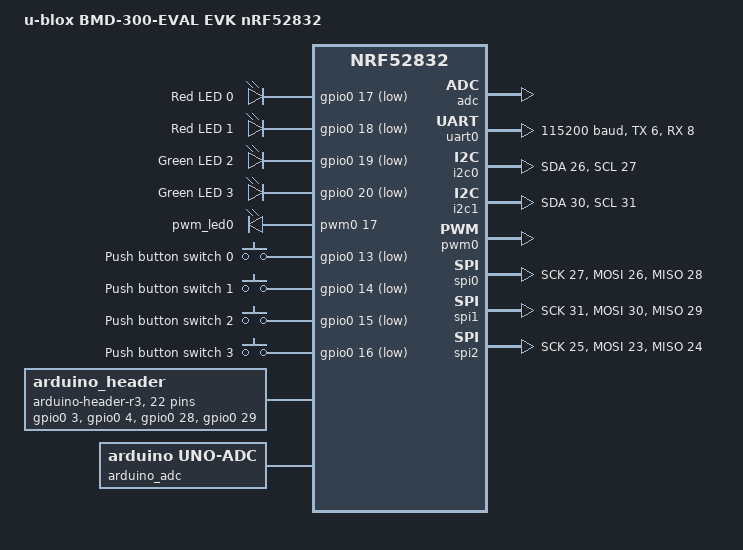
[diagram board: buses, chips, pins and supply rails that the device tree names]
/*
 * Copyright (c) 2020 u-blox AG
 *
 * SPDX-License-Identifier: Apache-2.0
 */

/dts-v1/;
#include <nordic/nrf52832_qfaa.dtsi>

/ {
	model = "u-blox BMD-300-EVAL EVK nRF52832";
	compatible = "u-blox,ubx-bmd300eval-nrf52832";

	chosen {
		zephyr,console = &uart0;
		zephyr,shell-uart = &uart0;
		zephyr,uart-mcumgr = &uart0;
		zephyr,bt-mon-uart = &uart0;
		zephyr,bt-c2h-uart = &uart0;
		zephyr,sram = &sram0;
		zephyr,flash = &flash0;
		zephyr,code-partition = &slot0_partition;
	};

	leds {
		compatible = "gpio-leds";
		led0: led_0 {
			gpios = <&gpio0 17 GPIO_ACTIVE_LOW>;
			label = "Red LED 0";
		};
		led1: led_1 {
			gpios = <&gpio0 18 GPIO_ACTIVE_LOW>;
			label = "Red LED 1";
		};
		led2: led_2 {
			gpios = <&gpio0 19 GPIO_ACTIVE_LOW>;
			label = "Green LED 2";
		};
		led3: led_3 {
			gpios = <&gpio0 20 GPIO_ACTIVE_LOW>;
			label = "Green LED 3";
		};
	};

	pwmleds {
		compatible = "pwm-leds";
		pwm_led0: pwm_led_0 {
			pwms = <&pwm0 17>;
		};
	};

	buttons {
		compatible = "gpio-keys";
		button0: button_0 {
			gpios = <&gpio0 13 (GPIO_PULL_UP | \
				GPIO_ACTIVE_LOW)>;
			label = "Push button switch 0";
		};
		button1: button_1 {
			gpios = <&gpio0 14 (GPIO_PULL_UP | \
				GPIO_ACTIVE_LOW)>;
			label = "Push button switch 1";
		};
		button2: button_2 {
			gpios = <&gpio0 15 (GPIO_PULL_UP | \
				GPIO_ACTIVE_LOW)>;
			label = "Push button switch 2";
		};
		button3: button_3 {
			gpios = <&gpio0 16 (GPIO_PULL_UP | \
				GPIO_ACTIVE_LOW)>;
			label = "Push button switch 3";
		};
	};

	arduino_header: connector {
		compatible = "arduino-header-r3";
		#gpio-cells = <2>;
		gpio-map-mask = <0xffffffff 0xffffffc0>;
		gpio-map-pass-thru = <0 0x3f>;
		gpio-map = <0 0 &gpio0 3 0>,	/* A0 */
			   <1 0 &gpio0 4 0>,	/* A1 */
			   <2 0 &gpio0 28 0>,	/* A2 */
			   <3 0 &gpio0 29 0>,	/* A3 */
			   <4 0 &gpio0 30 0>,	/* A4 */
			   <5 0 &gpio0 31 0>,	/* A5 */
			   <6 0 &gpio0 11 0>,	/* D0 */
			   <7 0 &gpio0 12 0>,	/* D1 */
			   <8 0 &gpio0 13 0>,	/* D2 */
			   <9 0 &gpio0 14 0>,	/* D3 */
			   <10 0 &gpio0 15 0>,	/* D4 */
			   <11 0 &gpio0 16 0>,	/* D5 */
			   <12 0 &gpio0 17 0>,	/* D6 */
			   <13 0 &gpio0 18 0>,	/* D7 */
			   <14 0 &gpio0 19 0>,	/* D8 */
			   <15 0 &gpio0 20 0>,	/* D9 */
			   <16 0 &gpio0 22 0>,	/* D10 */
			   <17 0 &gpio0 23 0>,	/* D11 */
			   <18 0 &gpio0 24 0>,	/* D12 */
			   <19 0 &gpio0 25 0>,	/* D13 */
			   <20 0 &gpio0 26 0>,	/* D14 */
			   <21 0 &gpio0 27 0>;	/* D15 */
	};

	arduino_adc: analog-connector {
		compatible = "arduino,uno-adc";
		#io-channel-cells = <1>;
		io-channel-map = <0 &adc 1>,	/* A0 = P0.3 = AIN1 */
				 <1 &adc 2>,	/* A1 = P0.4 = AIN2 */
				 <2 &adc 4>,	/* A2 = P0.28 = AIN4 */
				 <3 &adc 5>,	/* A3 = P0.29 = AIN5 */
				 <4 &adc 6>,	/* A4 = P0.30 = AIN6 */
				 <5 &adc 7>;	/* A5 = P0.31 = AIN7 */
	};

	/* These aliases are provided for compatibility with samples */
	aliases {
		led0 = &led0;
		led1 = &led1;
		led2 = &led2;
		led3 = &led3;
		pwm-led0 = &pwm_led0;
		sw0 = &button0;
		sw1 = &button1;
		sw2 = &button2;
		sw3 = &button3;
		bootloader-led0 = &led0;
	};
};

&adc {
	status = "okay";
};

&gpiote {
	status = "okay";
};

&gpio0 {
	status = "okay";
};

arduino_serial: &uart0 {
	status = "okay";
	compatible = "nordic,nrf-uarte";
	current-speed = <115200>;
	tx-pin = <6>;
	rx-pin = <8>;
	rts-pin = <5>;
	cts-pin = <7>;
};

arduino_i2c: &i2c0 {
	compatible = "nordic,nrf-twi";
	status = "okay";
	sda-pin = <26>;
	scl-pin = <27>;
};

&i2c1 {
	compatible = "nordic,nrf-twi";
	/* Cannot be used together with spi1. */
	/* status = "okay"; */
	sda-pin = <30>;
	scl-pin = <31>;
};

&pwm0 {
	status = "okay";
	ch0-pin = <17>;
	ch0-inverted;
};

&spi0 {
	compatible = "nordic,nrf-spi";
	/* Cannot be used together with i2c0. */
	/* status = "okay"; */
	sck-pin = <27>;
	mosi-pin = <26>;
	miso-pin = <28>;
};

&spi1 {
	compatible = "nordic,nrf-spi";
	status = "okay";
	sck-pin = <31>;
	mosi-pin = <30>;
	miso-pin = <29>;
};

arduino_spi: &spi2 {
	compatible = "nordic,nrf-spi";
	status = "okay";
	sck-pin = <25>;
	mosi-pin = <23>;
	miso-pin = <24>;
	cs-gpios = <&arduino_header 16 GPIO_ACTIVE_LOW>; /* D10 */
};

&flash0 {

	partitions {
		compatible = "fixed-partitions";
		#address-cells = <1>;
		#size-cells = <1>;

		boot_partition: partition@0 {
			label = "mcuboot";
			reg = <0x00000000 0xc000>;
		};
		slot0_partition: partition@c000 {
			label = "image-0";
			reg = <0x0000C000 0x32000>;
		};
		slot1_partition: partition@3e000 {
			label = "image-1";
			reg = <0x0003E000 0x32000>;
		};
		scratch_partition: partition@70000 {
			label = "image-scratch";
			reg = <0x00070000 0xa000>;
		};
		storage_partition: partition@7a000 {
			label = "storage";
			reg = <0x0007a000 0x00006000>;
		};
	};
};
